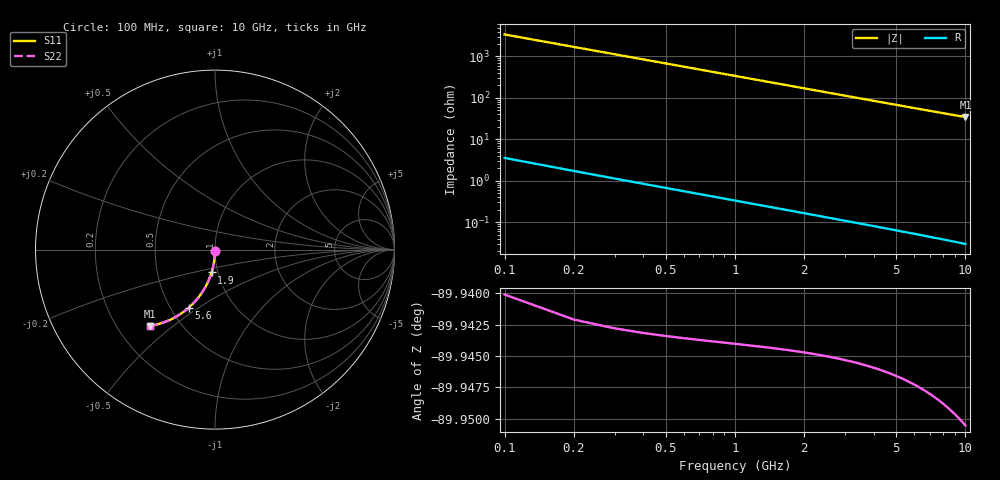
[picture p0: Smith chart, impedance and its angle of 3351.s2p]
# Hz S RI R 50.00
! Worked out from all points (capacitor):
!   100 points, 100 MHz to 10 GHz, reference 50 ohm
!   read as one part in shunt: C = 468 fF near 100 MHz
!   lowest |Z| = 34.5 ohm at 10 GHz (marker M1)
!   S11 on the Smith chart (normalised r, x): 100 MHz: 1.00, -0.01; 1.9 GHz: 0.93, -0.24; 5.6 GHz: 0.61, -0.46; 10 GHz: 0.34, -0.42
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1e8  9.17e-05 -0.00681  0.9998 -0.0079  0.9998 -0.0079  9.17e-05 -0.00681
2e8  -7.58e-05 -0.0136  0.9996 -0.0158  0.9996 -0.0158  -7.58e-05 -0.0136
3e8  -0.000351 -0.0204  0.9993 -0.0237  0.9993 -0.0237  -0.000351 -0.0204
4e8  -0.000734 -0.0272  0.9989 -0.0316  0.9989 -0.0316  -0.000734 -0.0272
5e8  -0.00122 -0.034  0.9984 -0.0394  0.9984 -0.0394  -0.00122 -0.034
6e8  -0.00182 -0.0408  0.9978 -0.0473  0.9978 -0.0473  -0.00182 -0.0408
7e8  -0.00252 -0.0476  0.9971 -0.0551  0.9971 -0.0551  -0.00252 -0.0476
8e8  -0.00333 -0.0543  0.9963 -0.063  0.9963 -0.063  -0.00333 -0.0543
9e8  -0.00425 -0.0611  0.9954 -0.0708  0.9954 -0.0708  -0.00425 -0.0611
1.1e9  -0.0064 -0.0745  0.9932 -0.0864  0.9932 -0.0864  -0.0064 -0.0745
1.4e9  -0.0104 -0.0944  0.9892 -0.1096  0.9892 -0.1096  -0.0104 -0.0944
1.8e9  -0.0172 -0.1205  0.9823 -0.1401  0.9823 -0.1401  -0.0172 -0.1205
1.9e9  -0.0191 -0.127  0.9804 -0.1476  0.9804 -0.1476  -0.0191 -0.127
2.2e9  -0.0255 -0.1461  0.9739 -0.1699  0.9739 -0.1699  -0.0255 -0.1461
2.6e9  -0.0353 -0.1709  0.964 -0.1991  0.964 -0.1991  -0.0353 -0.1709
3.4e9  -0.0591 -0.2178  0.9399 -0.2548  0.9399 -0.2548  -0.0591 -0.2178
4.2e9  -0.0878 -0.2606  0.9108 -0.3064  0.9108 -0.3064  -0.0878 -0.2606
5.1e9  -0.1248 -0.3031  0.8733 -0.3589  0.8733 -0.3589  -0.1248 -0.3031
5.6e9  -0.147 -0.324  0.8508 -0.3853  0.8508 -0.3853  -0.147 -0.324
6.7e9  -0.1988 -0.3629  0.7982 -0.4365  0.7982 -0.4365  -0.1988 -0.3629
8.4e9  -0.2825 -0.4044  0.7128 -0.4973  0.7128 -0.4973  -0.2825 -0.4044
1e10  -0.3603 -0.4249  0.6331 -0.5362  0.6331 -0.5362  -0.3603 -0.4249
